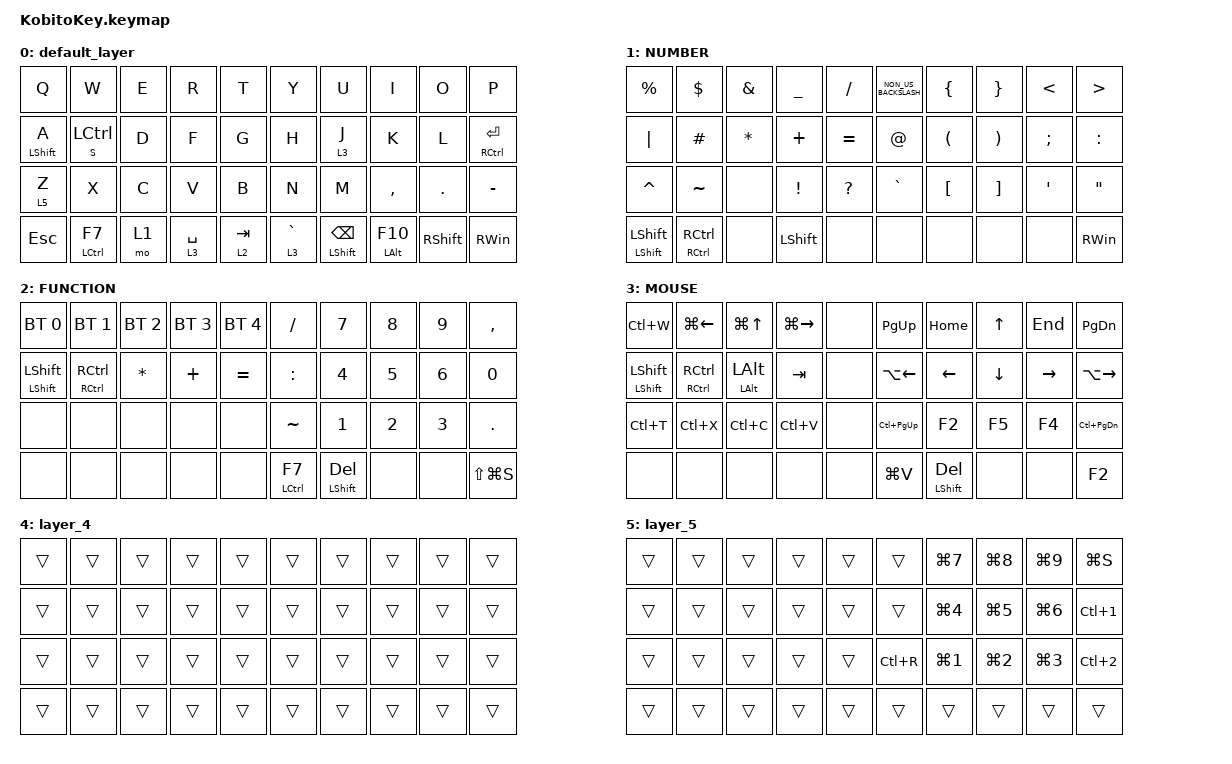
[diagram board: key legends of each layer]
#include <input/processors.dtsi>
#include <layout_shift_kp_override.dtsi> //JIS変換の処理を追加（2026/09/21）
#include <behaviors.dtsi>
#include <dt-bindings/zmk/bt.h>
#include <dt-bindings/zmk/keys.h>
#include <dt-bindings/zmk/pointing.h>

/ {
    combos {
        compatible = "zmk,combos";

        Mouse01 {
            bindings = <&mkp MB1>;
            key-positions = <17 18>;
            timeout-ms = <50>;
        };

        Mouse02 {
            bindings = <&mkp MB2>;
            key-positions = <7 8>;
        };
    };

    keymap {
        compatible = "zmk,keymap";

        default_layer {
            bindings = <
&kp Q         &kp W         &kp E  &kp R        &kp T      &kp Y        &kp U                     &kp I             &kp O      &kp P
&mt LSHIFT A  &mt S LCTRL   &kp D  &kp F        &kp G      &kp H        &lt 3 J                   &kp K             &kp L      &mt RCTRL ENTER
&lt 5 Z       &kp X         &kp C  &kp V        &kp B      &kp N        &kp M                     &kp COMMA         &kp DOT    &kp MINUS
&kp ESC       &mt LCTRL F7  &mo 1  &lt 3 SPACE  &lt 2 TAB  &lt 3 GRAVE  &mt LEFT_SHIFT BACKSPACE  &mt LEFT_ALT F10  &kp RSHFT  &kp RIGHT_WIN
            >;
        };

        layer1 {
            label = "NUMBER";
            bindings = <
&kp PERCENT                &kp DOLLAR       &kp AMPERSAND  &kp UNDERSCORE   &kp SLASH     &kp NON_US_BACKSLASH  &kp LEFT_BRACE        &kp RIGHT_BRACE        &kp LESS_THAN  &kp GREATER_THAN
&kp PIPE                   &kp HASH         &kp ASTERISK   &kp PLUS         &kp EQUAL     &kp AT_SIGN           &kp LEFT_PARENTHESIS  &kp RIGHT_PARENTHESIS  &kp SEMICOLON  &kp COLON
&kp CARET                  &kp TILDE        &none          &kp EXCLAMATION  &kp QUESTION  &kp GRAVE             &kp LEFT_BRACKET      &kp RIGHT_BRACKET      &kp SQT        &kp DOUBLE_QUOTES
&mt LEFT_SHIFT LEFT_SHIFT  &mt RCTRL RCTRL  &none          &kp LSHFT        &none         &none                 &none                 &none                  &none          &kp RIGHT_WIN
            >;
        };

        layer2 {
            label = "FUNCTION";
            bindings = <
&bt BT_SEL 0               &bt BT_SEL 1     &bt BT_SEL 2  &bt BT_SEL 3  &bt BT_SEL 4  &kp SLASH     &kp N7                 &kp N8        &kp N9        &kp COMMA
&mt LEFT_SHIFT LEFT_SHIFT  &mt RCTRL RCTRL  &kp ASTERISK  &kp PLUS      &kp EQUAL     &kp COLON     &kp NUMBER_4           &kp N5        &kp NUMBER_6  &kp N0
&none                      &none            &none         &none         &none         &kp TILDE     &kp NUMBER_1           &kp NUMBER_2  &kp NUMBER_3  &kp PERIOD
&none                      &none            &none         &none         &none         &mt LCTRL F7  &mt LEFT_SHIFT DELETE  &none         &none         &kp LS(LG(S))
            >;
        };

        layer3 {
            label = "MOUSE";
            bindings = <
&kp LC(W)                  &kp LG(LEFT_ARROW)  &kp LG(UP_ARROW)       &kp LG(RIGHT_ARROW)  &none  &kp PAGE_UP         &kp HOME               &kp UP_ARROW    &kp END          &kp PAGE_DOWN
&mt LEFT_SHIFT LEFT_SHIFT  &mt RCTRL RCTRL     &mt LEFT_ALT LEFT_ALT  &kp TAB              &none  &kp LA(LEFT_ARROW)  &kp LEFT_ARROW         &kp DOWN_ARROW  &kp RIGHT_ARROW  &kp LA(RIGHT_ARROW)
&kp LC(T)                  &kp LC(X)           &kp LC(C)              &kp LC(V)            &none  &kp LC(PAGE_UP)     &kp F2                 &kp F5          &kp F4           &kp LC(PAGE_DOWN)
&none                      &none               &none                  &none                &none  &kp LG(V)           &mt LEFT_SHIFT DELETE  &none           &none            &kp F2
            >;
        };

        layer_4 {
            bindings = <
&trans  &trans  &trans  &trans  &trans  &trans  &trans  &trans  &trans  &trans
&trans  &trans  &trans  &trans  &trans  &trans  &trans  &trans  &trans  &trans
&trans  &trans  &trans  &trans  &trans  &trans  &trans  &trans  &trans  &trans
&trans  &trans  &trans  &trans  &trans  &trans  &trans  &trans  &trans  &trans
            >;
        };

        layer_5 {
            bindings = <
&trans  &trans  &trans  &trans  &trans  &trans     &kp LG(N7)        &kp LG(N8)        &kp LG(N9)        &kp LG(S)
&trans  &trans  &trans  &trans  &trans  &trans     &kp LG(NUMBER_4)  &kp LG(N5)        &kp LG(NUMBER_6)  &kp LC(NUMBER_1)
&trans  &trans  &trans  &trans  &trans  &kp LC(R)  &kp LG(NUMBER_1)  &kp LG(NUMBER_2)  &kp LG(NUMBER_3)  &kp LC(NUMBER_2)
&trans  &trans  &trans  &trans  &trans  &trans     &trans            &trans            &trans            &trans
            >;
        };
    };
};
